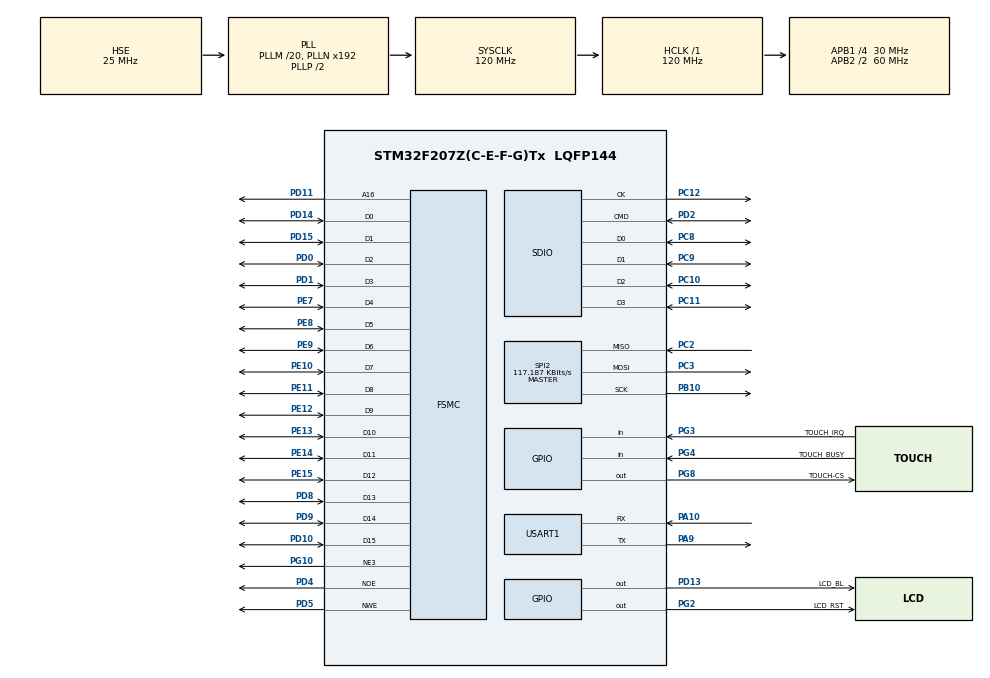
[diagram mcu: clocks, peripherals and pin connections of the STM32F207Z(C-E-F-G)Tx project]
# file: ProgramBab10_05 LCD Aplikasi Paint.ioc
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FATFS._USE_FIND=1
FATFS._USE_LFN=1
FSMC.AddressSetupTime1=5
FSMC.BusTurnAroundDuration1=0
FSMC.DataSetupTime1=5
Mcu.Family=STM32F2
Mcu.Name=STM32F207Z(C-E-F-G)Tx
Mcu.Package=LQFP144
NVIC.PriorityGroup=NVIC_PRIORITYGROUP_4
PA10.Mode=Asynchronous
PA10.Signal=USART1_RX
PA9.Mode=Asynchronous
PA9.Signal=USART1_TX
PB10.Mode=Full_Duplex_Master
PB10.Signal=SPI2_SCK
PC10.Mode=SD_4_bits_Wide_bus
PC10.Signal=SDIO_D2
PC11.Mode=SD_4_bits_Wide_bus
PC11.Signal=SDIO_D3
PC12.Mode=SD_4_bits_Wide_bus
PC12.Signal=SDIO_CK
PC2.Mode=Full_Duplex_Master
PC2.Signal=SPI2_MISO
PC3.Mode=Full_Duplex_Master
PC3.Signal=SPI2_MOSI
PC8.Mode=SD_4_bits_Wide_bus
PC8.Signal=SDIO_D0
PC9.Mode=SD_4_bits_Wide_bus
PC9.Signal=SDIO_D1
PD0.Signal=FSMC_D2_DA2
PD1.Signal=FSMC_D3_DA3
PD10.Signal=FSMC_D15_DA15
PD11.Signal=FSMC_A16_CLE
PD13.GPIO_Label=LCD_BL
PD13.Signal=GPIO_Output
PD14.Signal=FSMC_D0_DA0
PD15.Signal=FSMC_D1_DA1
PD2.Mode=SD_4_bits_Wide_bus
PD2.Signal=SDIO_CMD
PD4.Signal=FSMC_NOE
PD5.Signal=FSMC_NWE
PD8.Signal=FSMC_D13_DA13
PD9.Signal=FSMC_D14_DA14
PE10.Signal=FSMC_D7_DA7
PE11.Signal=FSMC_D8_DA8
PE12.Signal=FSMC_D9_DA9
PE13.Signal=FSMC_D10_DA10
PE14.Signal=FSMC_D11_DA11
PE15.Signal=FSMC_D12_DA12
PE7.Signal=FSMC_D4_DA4
PE8.Signal=FSMC_D5_DA5
PE9.Signal=FSMC_D6_DA6
PG10.Mode=NorPsramChipSelect3_1
PG10.Signal=FSMC_NE3
PG2.GPIO_Label=LCD_RST
PG2.Signal=GPIO_Output
PG3.GPIO_Label=TOUCH_IRQ
PG3.GPIO_PuPd=GPIO_NOPULL
PG3.Signal=GPIO_Input
PG4.GPIO_Label=TOUCH_BUSY
PG4.Signal=GPIO_Input
PG8.GPIO_Label=TOUCH-CS
PG8.PinState=GPIO_PIN_SET
PG8.Signal=GPIO_Output
PH0-OSC_IN.Mode=HSE-External-Oscillator
PH0-OSC_IN.Signal=RCC_OSC_IN
PH1-OSC_OUT.Mode=HSE-External-Oscillator
PH1-OSC_OUT.Signal=RCC_OSC_OUT
ProjectManager.HeapSize=0x200
ProjectManager.StackSize=0x400
ProjectManager.TargetToolchain=STM32CubeIDE
RCC.48MHZClocksFreq_Value=48000000
RCC.AHBFreq_Value=120000000
RCC.APB1CLKDivider=RCC_HCLK_DIV4
RCC.APB1Freq_Value=30000000
RCC.APB1TimFreq_Value=60000000
RCC.APB2CLKDivider=RCC_HCLK_DIV2
RCC.APB2Freq_Value=60000000
RCC.APB2TimFreq_Value=120000000
RCC.CortexFreq_Value=120000000
RCC.HCLKFreq_Value=120000000
RCC.HSE_VALUE=25000000
RCC.HSI_VALUE=16000000
RCC.LSE_VALUE=32768
RCC.PLLM=20
RCC.PLLQ=5
RCC.PLLSourceVirtual=RCC_PLLSOURCE_HSE
RCC.SYSCLKFreq_VALUE=120000000
RCC.SYSCLKSource=RCC_SYSCLKSOURCE_PLLCLK
RCC.VCOOutputFreq_Value=240000000
SH.FSMC_A16_CLE.0=FSMC_A16,A16_1
SH.FSMC_D0_DA0.0=FSMC_D0,16b-d1
SH.FSMC_D10_DA10.0=FSMC_D10,16b-d1
SH.FSMC_D11_DA11.0=FSMC_D11,16b-d1
SH.FSMC_D12_DA12.0=FSMC_D12,16b-d1
SH.FSMC_D13_DA13.0=FSMC_D13,16b-d1
SH.FSMC_D14_DA14.0=FSMC_D14,16b-d1
SH.FSMC_D15_DA15.0=FSMC_D15,16b-d1
SH.FSMC_D1_DA1.0=FSMC_D1,16b-d1
SH.FSMC_D2_DA2.0=FSMC_D2,16b-d1
SH.FSMC_D3_DA3.0=FSMC_D3,16b-d1
SH.FSMC_D4_DA4.0=FSMC_D4,16b-d1
SH.FSMC_D5_DA5.0=FSMC_D5,16b-d1
SH.FSMC_D6_DA6.0=FSMC_D6,16b-d1
SH.FSMC_D7_DA7.0=FSMC_D7,16b-d1
SH.FSMC_D8_DA8.0=FSMC_D8,16b-d1
SH.FSMC_D9_DA9.0=FSMC_D9,16b-d1
SH.FSMC_NOE.0=FSMC_NOE,Lcd1
SH.FSMC_NWE.0=FSMC_NWE,Lcd1
SPI2.BaudRatePrescaler=SPI_BAUDRATEPRESCALER_256
SPI2.CalculateBaudRate=117.187 KBits/s
SPI2.Direction=SPI_DIRECTION_2LINES
SPI2.Mode=SPI_MODE_MASTER
SPI2.VirtualType=VM_MASTER
USART1.VirtualMode=VM_ASYNC
VP_FATFS_VS_SDIO.Mode=SDIO
board=custom

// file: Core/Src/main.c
/* USER CODE BEGIN Header */
/**
  ******************************************************************************
  * @file           : main.c
  * @brief          : Main program body
  ******************************************************************************
  * @attention
  *
  * <h2><center>&copy; Copyright (c) 2019 STMicroelectronics.
  * All rights reserved.</center></h2>
  *
  * This software component is licensed by ST under BSD 3-Clause license,
  * the "License"; You may not use this file except in compliance with the
  * License. You may obtain a copy of the License at:
  *                        opensource.org/licenses/BSD-3-Clause
  *
  ******************************************************************************
  */
/* USER CODE END Header */

#include "main.h"
#include "fatfs.h"
#include "sdio.h"
#include "spi.h"
#include "usart.h"
#include "gpio.h"
#include "fsmc.h"

/* USER CODE BEGIN Includes */
#include "global.h"
#include "color.h"
#include "save.h"
/* USER CODE END Includes */

/* USER CODE BEGIN PV */
static uint32_t Radius = 2;
static uint32_t x = 0, y = 0;
Coordinate touch;

const uint32_t aBMPHeader[14]=
{0x2C364D42,
 0x00000001, /*0x224A6: (240-60)*(320-60)*3 + 54*/
 0x00360000, 0x00280000,
 0x00F00000, /* Y=(320-60)=0x104*/
 0x00A00000, /* X=(240-60)=0xB4*/
 0x00010000, 0x00000018, 0xF5400000, 0x00000006, 0x00000000, 0x00000000, 0x00000000, 0x0000};

/* USER CODE END PV */

void SystemClock_Config(void);
/* USER CODE BEGIN PFP */
static void Draw_Menu(void);
void GetPosition(void);
static void Save_Picture(void);
static void Update_Color(void);
static void Update_Size(uint8_t size);

/* USER CODE END PFP */

int main(void)
{

  /* MCU Configuration--------------------------------------------------------*/

  /* Reset of all peripherals, Initializes the Flash interface and the Systick. */
  HAL_Init();

  /* Configure the system clock */
  SystemClock_Config();

  /* Initialize all configured peripherals */
  MX_GPIO_Init();
  MX_FSMC_Init();
  MX_SDIO_SD_Init();
  MX_SPI2_Init();
  MX_USART1_UART_Init();
  MX_FATFS_Init();
  /* USER CODE BEGIN 2 */
   if (BSP_LCD_Init()!=LCD_OK){
	 printf("LCD Error\r\n");
	 for(;;);
   }

   //Touch Panel Calibration
   touch_calibration();

   //Draw_Menu();
   BSP_LCD_Clear(LCD_COLOR_BLUE);
   BSP_LCD_SetBackColor(LCD_COLOR_YELLOW);
   BSP_LCD_SetTextColor(LCD_COLOR_GREEN);
   BSP_LCD_FillCircle(150, 150, 50);
   for(;;){
	   touch_readPosition(&touch);
	      if(touch.status==TOUCH_PRESSED){
	    	  x = touch.x;
	    	  y=touch.y;
	    	    if((x > 125) & (y > 125) & ( x < 175) & (y < 175))
	    	    {
	    	    	BSP_LCD_SetTextColor(LCD_COLOR_RED);
	    	    	BSP_LCD_FillCircle(150, 150, 50);
	    	    	HAL_Delay(100);
    	    	    BSP_LCD_SetTextColor(LCD_COLOR_GREEN);
	    	    	BSP_LCD_FillCircle(150, 150, 50);

	    	    }
	      }

   }
  /* USER CODE END 2 */

  /* Infinite loop */
  while (1)
  {

    /* USER CODE BEGIN 3 */
	  GetPosition();
  }
  /* USER CODE END 3 */
}

void SystemClock_Config(void)
{
  RCC_OscInitTypeDef RCC_OscInitStruct = {0};
  RCC_ClkInitTypeDef RCC_ClkInitStruct = {0};

  /** Initializes the CPU, AHB and APB busses clocks
  */
  RCC_OscInitStruct.OscillatorType = RCC_OSCILLATORTYPE_HSE;
  RCC_OscInitStruct.HSEState = RCC_HSE_ON;
  RCC_OscInitStruct.PLL.PLLState = RCC_PLL_ON;
  RCC_OscInitStruct.PLL.PLLSource = RCC_PLLSOURCE_HSE;
  RCC_OscInitStruct.PLL.PLLM = 20;
  RCC_OscInitStruct.PLL.PLLN = 192;
  RCC_OscInitStruct.PLL.PLLP = RCC_PLLP_DIV2;
  RCC_OscInitStruct.PLL.PLLQ = 5;
  if (HAL_RCC_OscConfig(&RCC_OscInitStruct) != HAL_OK)
  {
    Error_Handler();
  }
  /** Initializes the CPU, AHB and APB busses clocks
  */
  RCC_ClkInitStruct.ClockType = RCC_CLOCKTYPE_HCLK|RCC_CLOCKTYPE_SYSCLK
                              |RCC_CLOCKTYPE_PCLK1|RCC_CLOCKTYPE_PCLK2;
  RCC_ClkInitStruct.SYSCLKSource = RCC_SYSCLKSOURCE_PLLCLK;
  RCC_ClkInitStruct.AHBCLKDivider = RCC_SYSCLK_DIV1;
  RCC_ClkInitStruct.APB1CLKDivider = RCC_HCLK_DIV4;
  RCC_ClkInitStruct.APB2CLKDivider = RCC_HCLK_DIV2;

  if (HAL_RCC_ClockConfig(&RCC_ClkInitStruct, FLASH_LATENCY_3) != HAL_OK)
  {
    Error_Handler();
  }
}

/* USER CODE BEGIN 4 */
static void Draw_Menu(void)
{
  /* Clear the LCD */
  BSP_LCD_Clear(LCD_COLOR_WHITE);

  /* Draw color image */
  BSP_LCD_DrawBitmap(0, 0, (uint8_t *)color);

  /* Draw save image */
  BSP_LCD_DrawBitmap(160, (BSP_LCD_GetYSize() - 50), (uint8_t *)save);

  /* Set Black as text color */
  BSP_LCD_SetTextColor(LCD_COLOR_BLACK);

  /* Draw working window */
  BSP_LCD_DrawRect(61, 0, (BSP_LCD_GetXSize()-61), (BSP_LCD_GetYSize()-60));
  BSP_LCD_DrawRect(63, 3, (BSP_LCD_GetXSize()-66), (BSP_LCD_GetYSize()-66));
  BSP_LCD_DrawRect(65, 5, (BSP_LCD_GetXSize()-70), (BSP_LCD_GetYSize()-70));
  BSP_LCD_DrawRect(67, 7, (BSP_LCD_GetXSize()-74), (BSP_LCD_GetYSize()-74));

  /* Draw size icons */
  BSP_LCD_FillRect(60, (BSP_LCD_GetYSize() - 46), 90, 44);
  BSP_LCD_SetTextColor(LCD_COLOR_WHITE);
  BSP_LCD_FillCircle(80, (BSP_LCD_GetYSize() - 24), 10);
  BSP_LCD_FillCircle(110, (BSP_LCD_GetYSize() - 24), 5);
  BSP_LCD_FillCircle(135, (BSP_LCD_GetYSize() - 24), 2);

  BSP_LCD_SetTextColor(LCD_COLOR_DARKRED);
  BSP_LCD_SetFont(&Font8);
  BSP_LCD_DisplayStringAt(210, (BSP_LCD_GetYSize() - 55), (uint8_t *)"Selected Color  Size", LEFT_MODE);
  BSP_LCD_DisplayStringAt(60, (BSP_LCD_GetYSize() - 55), (uint8_t *)"Select Pen Size", LEFT_MODE);
  BSP_LCD_SetTextColor(LCD_COLOR_BLACK);
  BSP_LCD_FillRect(220, (BSP_LCD_GetYSize() - 40), 30, 30);
  BSP_LCD_FillCircle(290, (BSP_LCD_GetYSize() - 24), Radius);
}

void GetPosition(void){
	  static uint32_t color_width;
	  static uint32_t color;

	  color_width = 18;

	  //Get Touch screen position
      touch_readPosition(&touch);

      if(touch.status==TOUCH_PRESSED){
    	  x = touch.x;
    	  y=touch.y;
    	    if((x > (67 + Radius)) & (y > (7 + Radius) ) & ( x < (BSP_LCD_GetXSize() - (7 + Radius ))) & (y < (BSP_LCD_GetYSize() - (67 + Radius ))))
    	    {
    	      BSP_LCD_FillCircle((x), (y), Radius);
    	    }
    	    else if((x > 0 ) & ( x < 50 ))
    	    {
    	      if((y > 0 ) & (y < color_width ))
    	      {
    	        BSP_LCD_SetTextColor(LCD_COLOR_WHITE);
    	        Update_Size(Radius);
    	      }
    	      else if((y > color_width ) & (y < (2 * color_width)))
    	      {
    	        BSP_LCD_SetTextColor(LCD_COLOR_YELLOW);
    	        Update_Size(Radius);
    	      }
    	      else if((y > (2 * color_width)) & (y < (3 * color_width)))
    	      {
    	        BSP_LCD_SetTextColor(LCD_COLOR_ORANGE);
    	        Update_Size(Radius);
    	      }
    	      else if((y > (3 * color_width)) & (y < (4 * color_width)))
    	      {
    	        BSP_LCD_SetTextColor(LCD_COLOR_LIGHTMAGENTA);
    	        Update_Size(Radius);
    	      }
    	      else if((y > (4 * color_width)) & (y < (5 * color_width)))
    	      {
    	        BSP_LCD_SetTextColor(LCD_COLOR_DARKGREEN);
    	        Update_Size(Radius);
    	      }
    	      else if((y > (5 * color_width)) &(y < (6 * color_width)))
    	      {
    	        BSP_LCD_SetTextColor(LCD_COLOR_GREEN);
    	        Update_Size(Radius);
    	      }
    	      else if((y > (6 * color_width)) &(y < (7 * color_width)))
    	      {
    	        BSP_LCD_SetTextColor(LCD_COLOR_BROWN);
    	        Update_Size(Radius);
    	      }
    	      else if((y > (7 * color_width)) & (y < (8 * color_width)))
    	      {
    	        BSP_LCD_SetTextColor(LCD_COLOR_RED);
    	        Update_Size(Radius);
    	      }
    	      else if((y > (8 * color_width)) & (y < (9 * color_width)))
    	      {
    	        BSP_LCD_SetTextColor(LCD_COLOR_DARKMAGENTA);
    	        Update_Size(Radius);
    	      }
    	      else if((y > (9 * color_width)) & (y < (10 * color_width)))
    	      {
    	        BSP_LCD_SetTextColor(LCD_COLOR_CYAN);
    	        Update_Size(Radius);
    	      }
    	      else if((y > (10 * color_width)) & (y < (11 * color_width)))
    	      {
    	        BSP_LCD_SetTextColor(LCD_COLOR_DARKBLUE);
    	        Update_Size(Radius);
    	      }
    	      else if((y > (11 * color_width)) & (y < (12 * color_width)))
    	      {
    	        BSP_LCD_SetTextColor(LCD_COLOR_BLACK);
    	        Update_Size(Radius);
    	      }
    	      else if((y > (12 * color_width)) & (y < (13 * color_width)))
    	      {
    	        /* Get the current text color */
    	        color = BSP_LCD_GetTextColor();
    	        BSP_LCD_SetTextColor(LCD_COLOR_WHITE);
    	        /* Clear the working window */
    	        BSP_LCD_FillRect(68, 8, 245, 164);
    	        BSP_LCD_SetTextColor(color);
    	      }
    	      else
    	      {
    	        x = 0;
    	        y = 0;
    	      }
    	      Update_Color();
    	    }
    	    else if((x > 70) & (y > (BSP_LCD_GetYSize() - 50)) & (y < (BSP_LCD_GetYSize()) ) & ( x < 100))
    	    {
    	      Radius = 10;
    	      Update_Size(Radius);
    	    }
    	    else if((x > 100) & (y > (BSP_LCD_GetYSize() - 50)) & (y < (BSP_LCD_GetYSize()) ) & ( x < 130))
    	    {
    	      Radius = 5;
    	      Update_Size(Radius);
    	    }
    	    else if((x > 130) & (y > (BSP_LCD_GetYSize() - 50)) & (y < (BSP_LCD_GetYSize()) ) & ( x < 160))
    	    {
    	      Radius = 2;
    	      Update_Size(Radius);
    	    }
    	    else if(((x > (BSP_LCD_GetXSize()-5) ) & (y > (12 * color_width)) & (y < (13 * color_width))) | ((x < 55) & (y < 5)))
    	    {
    	      touch.x = 0;
    	      touch.y = 0;
    	    }
    	    else if((x > 160) & (y > (BSP_LCD_GetYSize() - 50)) & (x < 210) & (y < BSP_LCD_GetYSize()))
    	    {
    	      Save_Picture();
    	    }
    	    touch.status=TOUCH_RELEASED;
    	  }
}

void Save_Picture(void)
{
  FRESULT res1;             /* FatFs function common result code */
  uint32_t byteswritten = 0;     /* File write count */
  static uint32_t counter = 0;
  uint8_t str[30];

  uint32_t x_counter = 0, y_counter = 0;
  uint16_t tmp = 0,x;
  uint8_t filebuffer[1024];
  uint8_t r,g,b;

  printf("Save Picture\r\n");
  /* Check if the SD card is plugged in the slot */
  if(BSP_SD_IsDetected() != SD_PRESENT)
  {
    Error_Handler();
  }
  else
  {
    /* Format the string */
    sprintf((char *)str, "image_%lu.bmp", counter);

    /*##-1- Prepare the image to be saved ####################################*/
   // Prepare_Picture();

    /*##-2- Create and Open a new bmp file object with write access ##########*/
    if(f_open(&SDFile, (const char*)str, FA_CREATE_ALWAYS | FA_WRITE) != FR_OK)
    {
      /* 'image.bmp' file Open for write Error */
      printf("Save picture error\r\n");
      Error_Handler();
    }
    else
    {
      /*##-3- Write data to the BMP file #####################################*/
      /* Write the BMP header */
      res1 = f_write(&SDFile, (uint32_t *)aBMPHeader, 54, (void *)&byteswritten);

      /* Write the BMP file */
      for(y_counter = (BSP_LCD_GetYSize() - 70); y_counter >10 ; y_counter--)
        {
          x=0;
          for(x_counter = 70; x_counter < (BSP_LCD_GetXSize() - 10); x_counter++)
          {
            /* Write data to the SRAM memory */
            tmp = BSP_LCD_ReadPixel(x_counter, y_counter);
            /* Color conversion */
            r = (tmp & 0xF800) >> 11;
            g = (tmp & 0x07E0) >> 5;
            b = tmp & 0x001F;

            filebuffer[x++]=(r * 255)/31;
            filebuffer[x++]=(g * 255)/63;
            filebuffer[x++]=(b * 255)/31;

          }

    	res1=f_write(&SDFile, filebuffer, x,(void *)&byteswritten);
    	if((res1!=FR_OK)&&(byteswritten==0))
    		break;
      }

      if((res1 != FR_OK) || (byteswritten == 0))
      {
        /* 'image.bmp' file Write or EOF Error */
        Error_Handler();
        printf("Save picture failed\r\n");
      }
      else
      {
        /*##-4- Close the open BMP file ######################################*/
        f_close(&SDFile);
        printf("Save picture OK\r\n");
        /* Wait for 2s */
        HAL_Delay(2000);
        counter++;
      }
    }
  }
}

static void Update_Color(void)
{
  static uint32_t color;

  /* Get the current text color */
  color = BSP_LCD_GetTextColor();

  /* Update the selected color icon */
  BSP_LCD_FillRect(220, (BSP_LCD_GetYSize() - 40), 30, 30);
  BSP_LCD_SetTextColor(LCD_COLOR_BLACK);
  BSP_LCD_DrawRect(220, (BSP_LCD_GetYSize() - 40), 30, 30);
  BSP_LCD_SetTextColor(color);
}

static void Update_Size(uint8_t size)
{
  static uint32_t color;

  /* Get the current text color */
  color = BSP_LCD_GetTextColor();

  /* Update the selected size icon */
  BSP_LCD_SetTextColor(LCD_COLOR_WHITE);
  BSP_LCD_FillCircle(290, (BSP_LCD_GetYSize() - 24), 20);
  BSP_LCD_SetTextColor(color);
  BSP_LCD_FillCircle(290, (BSP_LCD_GetYSize() - 24), size);
  BSP_LCD_SetTextColor(LCD_COLOR_BLACK);
  BSP_LCD_DrawCircle(290, (BSP_LCD_GetYSize() - 24), size);
  BSP_LCD_SetTextColor(color);
}
/* USER CODE END 4 */

void Error_Handler(void)
{
}

/************************ (C) COPYRIGHT STMicroelectronics *****END OF FILE****/
